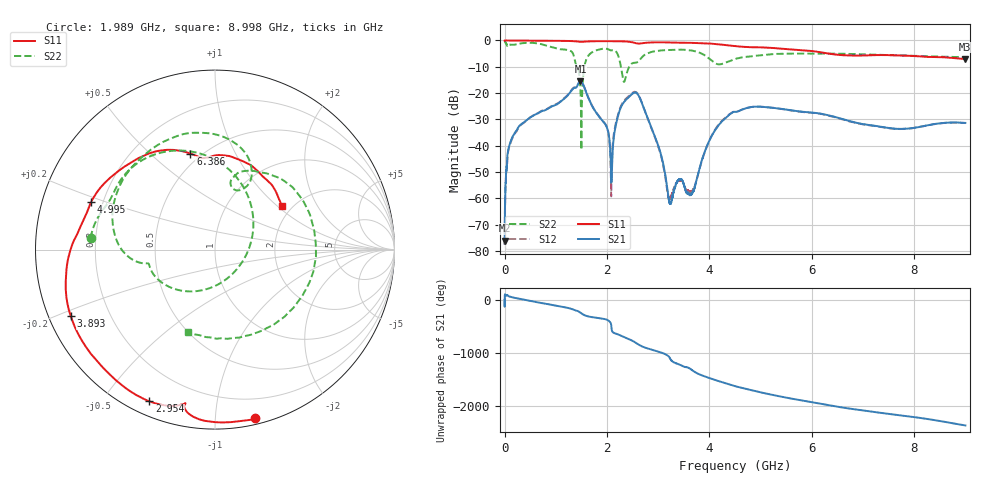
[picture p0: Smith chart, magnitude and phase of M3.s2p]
# Hz S DB R 50
! CMT, C1420, 19038819, 22.4.2/3
! Date: 2023-03-14 09:45:49
! Data: Format (Calibration Info)
! Freq	S11:dB/Ang(F2)	S21:dB/Ang(F2)	S12:dB/Ang(F2)	S22:dB/Ang(F2)
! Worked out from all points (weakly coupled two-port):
!   9001 points, 300 kHz to 9 GHz, reference 50 ohm
!   highest |S21| = -15.46 dB at 1.482 GHz (marker M1); lowest = -76.1 dB at 300 kHz (marker M2)
!   lowest |S11| = -7.1 dB at 8.999 GHz (marker M3), VSWR 2.59, Z = 88.6 + j53.4 ohm
!   |S11| at or under -10 dB: nowhere
!   |S22| runs from -41.6 to -0.1 dB; largest |S21 - S12| = 0.0041
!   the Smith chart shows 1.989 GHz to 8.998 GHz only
!   S11 on the Smith chart (normalised r, x): 1.989 GHz: 0.04, -1.27; 2.954 GHz: 0.06, -0.65; 3.893 GHz: 0.06, -0.22; 4.995 GHz: 0.15, +0.18; 6.386 GHz: 0.44, +0.68; 8.998 GHz: 1.77, +1.07
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300000  -0.04 -0.3  -76.05 1.8  -74.87 -90.3  -0.06 -0.7
9.62968e7  -0.03 -4.0  -39.64 60.2  -40.07 59.9  -1.58 -56.8
3.90287e8  -0.07 -15.5  -30.94 -1.8  -31.08 -1.8  -0.98 -173.9
6.662778e8  -0.10 -26.0  -27.57 -51.6  -27.44 -51.7  -1.23 101.1
9.372688e8  -0.14 -36.5  -24.92 -99.3  -24.76 -98.8  -2.62 15.9
1.228259e9  -0.20 -48.0  -20.99 -151.5  -20.82 -152.0  -3.63 -78.8
1.482251e9  -0.55 -57.3  -15.46 117.0  -15.40 117.7  -19.50 176.7
1.50025e9  -0.55 -57.5  -15.64 104.7  -15.53 105.5  -40.18 -79.8
1.989234e9  -0.29 -76.5  -32.64 -12.2  -32.51 -8.1  -3.15 174.7
2.288224e9  -0.34 -89.5  -24.73 39.2  -24.28 39.1  -11.91 32.5
2.954202e9  -0.72 -113.4  -37.51 122.7  -37.74 120.8  -4.04 151.6
3.0002e9  -0.71 -115.5  -39.94 109.2  -40.26 107.1  -3.91 146.8
3.238192e9  -0.78 -126.7  -62.20 -33.2  -59.79 -51.0  -3.62 125.2
3.89317e9  -1.06 -155.3  -43.14 7.8  -43.34 9.1  -5.45 69.1
4.50015e9  -2.17 174.8  -27.13 178.2  -27.04 -177.7  -7.07 73.6
4.995134e9  -2.62 159.0  -25.19 64.3  -25.18 64.4  -5.65 52.5
6.0001e9  -4.04 118.4  -27.41 -121.6  -27.53 -117.9  -5.02 7.8
6.386087e9  -5.16 104.4  -28.74 171.5  -28.88 175.4  -5.02 -8.1
7.50005e9  -5.56 81.1  -33.28 18.5  -33.37 16.9  -5.51 -52.3
8.998e9  -7.06 33.1  -31.35 162.4  -31.40 162.8  -6.34 -107.9
8.999e9  -7.06 33.1  -31.35 162.2  -31.41 162.7  -6.34 -108.0
9e9  -7.06 33.0  -31.34 162.1  -31.40 162.5  -6.34 -108.0
